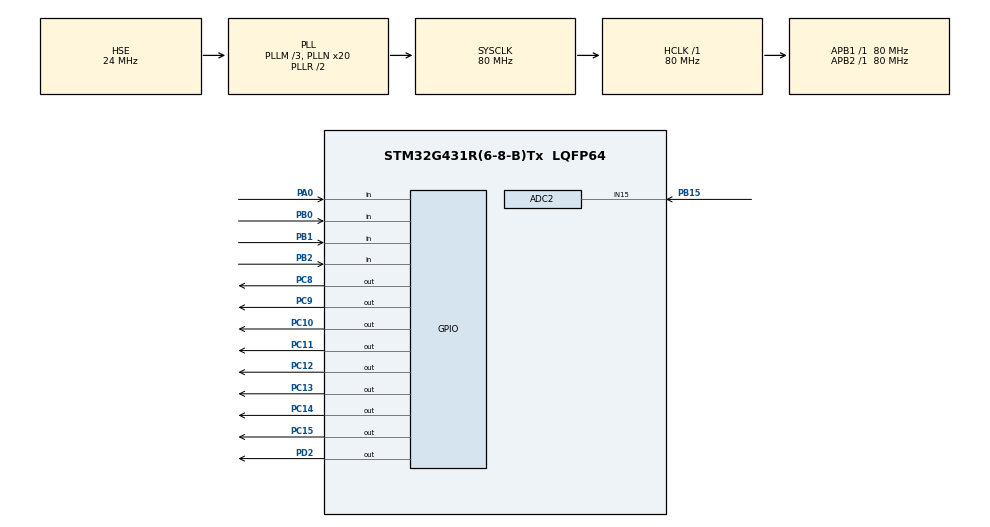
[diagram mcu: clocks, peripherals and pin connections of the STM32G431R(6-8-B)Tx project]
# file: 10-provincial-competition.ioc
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ADC2.Channel-2\#ChannelRegularConversion=ADC_CHANNEL_15
ADC2.NbrOfConversionFlag=1
Mcu.Family=STM32G4
Mcu.Name=STM32G431R(6-8-B)Tx
Mcu.Package=LQFP64
NVIC.PriorityGroup=NVIC_PRIORITYGROUP_4
PA0.GPIO_PuPd=GPIO_PULLUP
PA0.Signal=GPIO_Input
PA13.Mode=Serial_Wire
PA13.Signal=SYS_JTMS-SWDIO
PA14.Mode=Serial_Wire
PA14.Signal=SYS_JTCK-SWCLK
PB0.GPIO_PuPd=GPIO_PULLUP
PB0.Signal=GPIO_Input
PB1.GPIO_PuPd=GPIO_PULLUP
PB1.Signal=GPIO_Input
PB15.Mode=IN15-Single-Ended
PB15.Signal=ADC2_IN15
PB2.GPIO_PuPd=GPIO_PULLUP
PB2.Signal=GPIO_Input
PC10.PinState=GPIO_PIN_SET
PC10.Signal=GPIO_Output
PC11.PinState=GPIO_PIN_SET
PC11.Signal=GPIO_Output
PC12.PinState=GPIO_PIN_SET
PC12.Signal=GPIO_Output
PC13.PinState=GPIO_PIN_SET
PC13.Signal=GPIO_Output
PC14-OSC32_IN.PinState=GPIO_PIN_SET
PC14-OSC32_IN.Signal=GPIO_Output
PC15-OSC32_OUT.PinState=GPIO_PIN_SET
PC15-OSC32_OUT.Signal=GPIO_Output
PC8.PinState=GPIO_PIN_SET
PC8.Signal=GPIO_Output
PC9.PinState=GPIO_PIN_SET
PC9.Signal=GPIO_Output
PD2.Signal=GPIO_Output
PF0-OSC_IN.Mode=HSE-External-Oscillator
PF0-OSC_IN.Signal=RCC_OSC_IN
PF1-OSC_OUT.Mode=HSE-External-Oscillator
PF1-OSC_OUT.Signal=RCC_OSC_OUT
ProjectManager.HeapSize=0x200
ProjectManager.StackSize=0x400
ProjectManager.TargetToolchain=MDK-ARM V5.32
RCC.ADC12Freq_Value=80000000
RCC.AHBFreq_Value=80000000
RCC.APB1Freq_Value=80000000
RCC.APB1TimFreq_Value=80000000
RCC.APB2Freq_Value=80000000
RCC.APB2TimFreq_Value=80000000
RCC.CortexFreq_Value=80000000
RCC.EXTERNAL_CLOCK_VALUE=12288000
RCC.HCLKFreq_Value=80000000
RCC.HSE_VALUE=24000000
RCC.HSI48_VALUE=48000000
RCC.HSI_VALUE=16000000
RCC.LSE_VALUE=32768
RCC.PLLM=RCC_PLLM_DIV3
RCC.PLLN=20
RCC.PLLSourceVirtual=RCC_PLLSOURCE_HSE
RCC.SYSCLKFreq_VALUE=80000000
RCC.SYSCLKSource=RCC_SYSCLKSOURCE_PLLCLK
RCC.USBFreq_Value=80000000
RCC.VCOOutputFreq_Value=160000000
VP_SYS_VS_DBSignals.Mode=DisableDeadBatterySignals
board=custom

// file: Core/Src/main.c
/* USER CODE BEGIN Header */
/**
  ******************************************************************************
  * @file           : main.c
  * @brief          : Main program body
  ******************************************************************************
  * @attention
  *
  * Copyright (c) 2025 STMicroelectronics.
  * All rights reserved.
  *
  * This software is licensed under terms that can be found in the LICENSE file
  * in the root directory of this software component.
  * If no LICENSE file comes with this software, it is provided AS-IS.
  *
  ******************************************************************************
  */
/* USER CODE END Header */
#include "main.h"
#include "adc.h"
#include "gpio.h"

/* USER CODE BEGIN Includes */
#include "stdio.h"
#include "stdint.h"
#include "string.h"
#include "lcd.h"
/* USER CODE END Includes */

/* USER CODE BEGIN PV */
char text[20];
char* status[3] = {"Upper", "Lower", "Normal"};  // 3个状态
uint8_t setting_flag=0, line;  // 是否进入设置页面
uint8_t B1_State, B1_Last_State;
uint8_t B2_State, B2_Last_State;
uint8_t B3_State, B3_Last_State;
uint8_t B4_State, B4_Last_State;
double vol, max_vol=2.4, min_vol=1.2;  // 存储电压值
uint8_t up_led=0, low_led=1;  // 存储相应的LED序号
char* led_choose[8] = {"LD1", "LD2", "LD3", "LD4", "LD5", "LD6", "LD7", "LD8"};
uint8_t led[8] = {0x01, 0x02, 0x04, 0x08, 0x10, 0x20, 0x40, 0x80};
uint8_t status_flag;
/* USER CODE END PV */

void SystemClock_Config(void);
/* USER CODE BEGIN PFP */
void LCD_Proc(void);
void KEY_Proc(void);
void Status_judge(void);
double GET_ADC_Vol(ADC_HandleTypeDef *hadc);
/* USER CODE END PFP */

int main(void)
{

  /* MCU Configuration--------------------------------------------------------*/

  /* Reset of all peripherals, Initializes the Flash interface and the Systick. */
  HAL_Init();

  /* Configure the system clock */
  SystemClock_Config();

  /* Initialize all configured peripherals */
  MX_GPIO_Init();
  MX_ADC2_Init();
  /* USER CODE BEGIN 2 */
    // LCD
    LCD_Init();
    LCD_Clear(Black);
    LCD_SetBackColor(Black);
    LCD_SetTextColor(White);
    // ADC2IN15
    HAL_ADCEx_Calibration_Start(&hadc2, ADC_SINGLE_ENDED);
  /* USER CODE END 2 */

  /* Infinite loop */
  /* USER CODE BEGIN WHILE */
  while (1)
  {
      LCD_Proc();
      KEY_Proc();
      Status_judge();
    /* USER CODE END WHILE */

  }
}

void SystemClock_Config(void)
{
  RCC_OscInitTypeDef RCC_OscInitStruct = {0};
  RCC_ClkInitTypeDef RCC_ClkInitStruct = {0};

  /** Configure the main internal regulator output voltage
  */
  HAL_PWREx_ControlVoltageScaling(PWR_REGULATOR_VOLTAGE_SCALE1);

  /** Initializes the RCC Oscillators according to the specified parameters
  * in the RCC_OscInitTypeDef structure.
  */
  RCC_OscInitStruct.OscillatorType = RCC_OSCILLATORTYPE_HSE;
  RCC_OscInitStruct.HSEState = RCC_HSE_ON;
  RCC_OscInitStruct.PLL.PLLState = RCC_PLL_ON;
  RCC_OscInitStruct.PLL.PLLSource = RCC_PLLSOURCE_HSE;
  RCC_OscInitStruct.PLL.PLLM = RCC_PLLM_DIV3;
  RCC_OscInitStruct.PLL.PLLN = 20;
  RCC_OscInitStruct.PLL.PLLP = RCC_PLLP_DIV2;
  RCC_OscInitStruct.PLL.PLLQ = RCC_PLLQ_DIV2;
  RCC_OscInitStruct.PLL.PLLR = RCC_PLLR_DIV2;
  if (HAL_RCC_OscConfig(&RCC_OscInitStruct) != HAL_OK)
  {
    Error_Handler();
  }

  /** Initializes the CPU, AHB and APB buses clocks
  */
  RCC_ClkInitStruct.ClockType = RCC_CLOCKTYPE_HCLK|RCC_CLOCKTYPE_SYSCLK
                              |RCC_CLOCKTYPE_PCLK1|RCC_CLOCKTYPE_PCLK2;
  RCC_ClkInitStruct.SYSCLKSource = RCC_SYSCLKSOURCE_PLLCLK;
  RCC_ClkInitStruct.AHBCLKDivider = RCC_SYSCLK_DIV1;
  RCC_ClkInitStruct.APB1CLKDivider = RCC_HCLK_DIV1;
  RCC_ClkInitStruct.APB2CLKDivider = RCC_HCLK_DIV1;

  if (HAL_RCC_ClockConfig(&RCC_ClkInitStruct, FLASH_LATENCY_2) != HAL_OK)
  {
    Error_Handler();
  }
}

/* USER CODE BEGIN 4 */
void LED_Show(uint8_t led, uint8_t mode){
    if(mode){
        HAL_GPIO_WritePin(GPIOC, led<<8, GPIO_PIN_RESET);
        HAL_GPIO_WritePin(GPIOD, GPIO_PIN_2, GPIO_PIN_SET);
        HAL_GPIO_WritePin(GPIOD, GPIO_PIN_2, GPIO_PIN_RESET);
    }else{
        HAL_GPIO_WritePin(GPIOC, led<<8, GPIO_PIN_SET);
        HAL_GPIO_WritePin(GPIOD, GPIO_PIN_2, GPIO_PIN_SET);
        HAL_GPIO_WritePin(GPIOD, GPIO_PIN_2, GPIO_PIN_RESET);
    }
}
void LCD_Proc(){
    if(setting_flag==0){
        vol=GET_ADC_Vol(&hadc2);
        sprintf(text, "        Main        ");
        LCD_DisplayStringLine(Line2, (uint8_t*)text);
        sprintf(text, "  Volt: %.2fV        ", vol);
        LCD_DisplayStringLine(Line4, (uint8_t*)text);
        sprintf(text, "  Status: %-6s    ", status[status_flag]);
        LCD_DisplayStringLine(Line6, (uint8_t*)text);
    }else{
        sprintf(text, "      Setting       ");
        LCD_DisplayStringLine(Line2, (uint8_t*)text);
        if(line==0){
            LCD_SetBackColor(Green);
        }else{
            LCD_SetBackColor(Black);
        }
        sprintf(text, " Max Volt: %.1fV      ", max_vol);
        LCD_DisplayStringLine(Line3, (uint8_t*)text);
        if(line==1){
            LCD_SetBackColor(Green);
        }else{
            LCD_SetBackColor(Black);
        }
        sprintf(text, " Min Volt: %.1fV      ", min_vol);
        LCD_DisplayStringLine(Line5, (uint8_t*)text);
        if(line==2){
            LCD_SetBackColor(Green);
        }else{
            LCD_SetBackColor(Black);
        }
        sprintf(text, " Upper: %-3s         ", led_choose[up_led]);
        LCD_DisplayStringLine(Line7, (uint8_t*)text);
        if(line==3){
            LCD_SetBackColor(Green);
        }else{
            LCD_SetBackColor(Black);
        }
        sprintf(text, " Lower: %-3s         ", led_choose[low_led]);
        LCD_DisplayStringLine(Line9, (uint8_t*)text);
        LCD_SetBackColor(Black);
    }
}
void KEY_Proc(){
    B1_State=HAL_GPIO_ReadPin(GPIOB, GPIO_PIN_0);
    B2_State=HAL_GPIO_ReadPin(GPIOB, GPIO_PIN_1);
    B3_State=HAL_GPIO_ReadPin(GPIOB, GPIO_PIN_2);
    B4_State=HAL_GPIO_ReadPin(GPIOA, GPIO_PIN_0);
    if(B1_State==0 && B1_Last_State==1){
        setting_flag^=1;
        LCD_Clear(Black);
    }
    if(B2_State==0 && B2_Last_State==1 && setting_flag==1){
        line++;
        if(line>3) line=0;
    }
    if(B3_State==0 && B3_Last_State==1 && setting_flag==1){
        if(line==0){
            max_vol+=0.3;
            if(max_vol>3.3) max_vol=3.3;
        }
        if(line==1){
            min_vol+=0.3;
            if(min_vol>3.3) min_vol=3.3;
            if(min_vol>=max_vol) min_vol-=0.3;
        }
        if(line==2){
            up_led++;
            if(up_led>7) up_led=0;
            if(up_led==low_led) up_led++;
            if(up_led>7) up_led=0;
            LED_Show(0xff, 0);
        }
        if(line==3){
            low_led++;
            if(low_led>7) low_led=0;
            if(up_led==low_led) low_led++;
            if(low_led>7) low_led=0;
            LED_Show(0xff, 0);
        }
    }
    if(B4_State==0 && B4_Last_State==1 && setting_flag==1){
        if(line==0){
            max_vol-=0.3;
            if(max_vol<0) max_vol=0;
            if(min_vol>=max_vol) max_vol+=0.3;
        }
        if(line==1){
            min_vol-=0.3;
            if(min_vol<0) min_vol=0;
        }
        if(line==2){
            up_led--;
            if(up_led==255) up_led=7;
            if(up_led==low_led) up_led--;
            if(up_led==255) up_led=7;
            LED_Show(0xff, 0);
        }
        if(line==3){
            low_led--;
            if(low_led==255) low_led=7;
            if(up_led==low_led) low_led--;
            if(low_led==255) low_led=7;
            LED_Show(0xff, 0);
        }
    }
    B1_Last_State=B1_State;
    B2_Last_State=B2_State;
    B3_Last_State=B3_State;
    B4_Last_State=B4_State;
}
void Status_judge(){
    if(vol>max_vol){
        status_flag=0;
        LED_Show(led[up_led], 1);
    }
    if(vol<=max_vol && vol>=min_vol){
        status_flag=2;
        LED_Show(led[up_led], 0);
        LED_Show(led[low_led], 0);
    }
    if(vol<min_vol){
        status_flag=1;
        LED_Show(led[low_led], 1);
    }
}
double GET_ADC_Vol(ADC_HandleTypeDef *hadc){
    HAL_ADC_Start(hadc);
    uint32_t vol=HAL_ADC_GetValue(hadc);
    return vol*3.3/4096;
}
/* USER CODE END 4 */

void Error_Handler(void)
{
  __disable_irq();
  while (1)
  {
  }
}
